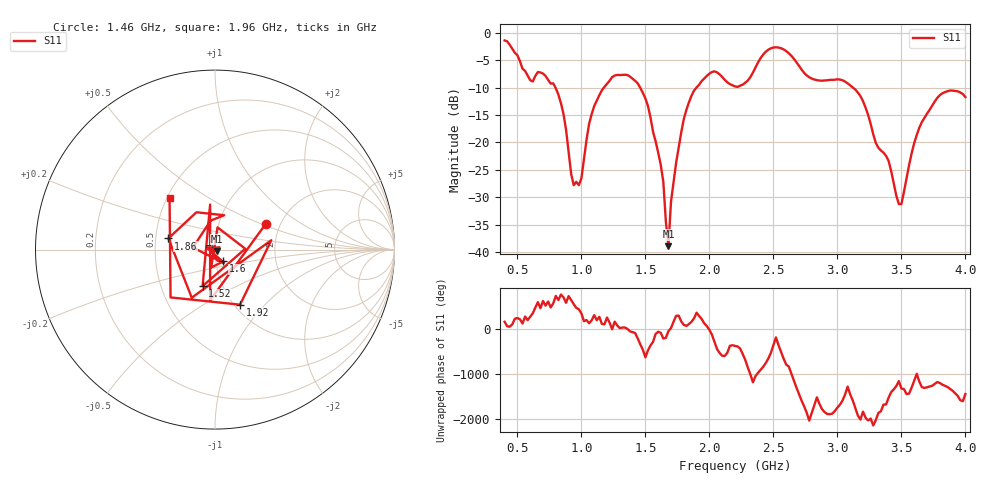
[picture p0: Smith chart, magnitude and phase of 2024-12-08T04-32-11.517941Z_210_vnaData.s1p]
!Created with skrf (http://scikit-rf.org).
# Hz S RI R 50.0
!freq ReS11 ImS11
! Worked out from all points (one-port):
!   181 points, 400 MHz to 4 GHz, reference 50 ohm
!   lowest |S11| = -39.0 dB at 1.68 GHz (marker M1), VSWR 1.02, Z = 50.9 - j0.705 ohm
!   |S11| at or under -10 dB: 797.8 MHz to 1.175 GHz (377.4 MHz wide, 38.3 % of centre); 1.46 GHz to 1.898 GHz (438.8 MHz wide, 26.1 % of centre); 3.122 GHz to end of sweep
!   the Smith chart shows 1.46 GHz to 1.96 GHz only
!   S11 on the Smith chart (normalised r, x): 1.46 GHz: 1.68, +0.53; 1.52 GHz: 0.81, -0.34; 1.6 GHz: 1.09, -0.14; 1.86 GHz: 0.58, +0.08; 1.92 GHz: 1.06, -0.74; 1.96 GHz: 0.52, +0.35
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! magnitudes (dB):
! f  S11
! 400 MHz  -1.4
! 600 MHz  -8.6
! 780 MHz  -9.2
! 860 MHz  -14.8
! 920 MHz  -25.8
! 980 MHz  -27.8
! 1.1 GHz  -13.4
! 1.3 GHz  -7.7
! 1.46 GHz  -10.0
! 1.52 GHz  -13.3
! 1.6 GHz  -21.9
! 1.64 GHz  -27.2
! 1.68 GHz  -39.0
! 1.7 GHz  -30.8
! 1.76 GHz  -20.9
! 1.86 GHz  -11.5
! 1.92 GHz  -9.4
! 1.96 GHz  -8.3
! 2.2 GHz  -9.8
! 2.48 GHz  -2.8
! 2.66 GHz  -4.7
! 3.1 GHz  -9.6
! 3.4 GHz  -23.4
! 3.48 GHz  -31.3
! 3.56 GHz  -24.2
! 3.64 GHz  -17.3
! 3.78 GHz  -11.9
! 4 GHz  -11.7
